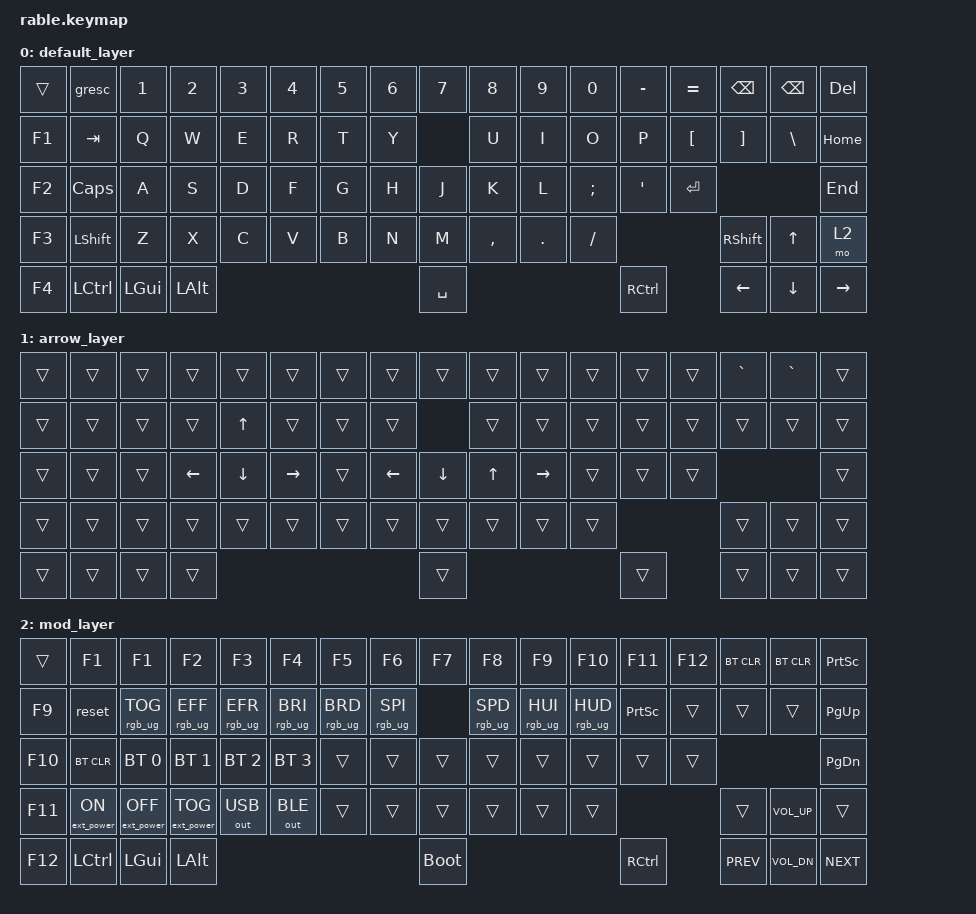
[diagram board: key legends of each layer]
/*
 * Copyright (c) 2021 Nick Winans
 *
 * SPDX-License-Identifier: MIT
 */

#include <behaviors.dtsi>
#include <dt-bindings/zmk/keys.h>
#include <dt-bindings/zmk/rgb.h>
#include <dt-bindings/zmk/bt.h>
#include <dt-bindings/zmk/outputs.h>
#include <dt-bindings/zmk/ext_power.h>

/ {
  keymap {
    compatible = "zmk,keymap";
    
    default_layer {
        // ----------------------------------------------------------------------------------------------------------
        // | F1  | ESC |  1  |  2  |  3  |  4  |  5  |  6  |  7  |  8  |  9  |  0  |  -  |  =  |   BKSP   | DEL  |
        // | F2  | TAB  |  Q  |  W  |  E  |  R  |  T  |  Y  |  U  |  I  |  O  |  P  |  [  |  ]  |   "|"   | PG UP   |
        // | F3  | CAPS  |  A  |  S  | D  |  F  |  G  |  H  |  J  |  K  |  L  |  ;  |  '  |     ENTER     | PG DOWN |
        // | F4  |  SHIFT  |  Z  |  X  |  C  |  V  |  B  |  N  |  M  |  ,  |  .  |  /  |   SHIFT  |  UP   | END     |
        // | F5  |  CTL  |  ALT  |  WIN  |                SPACE MO(1)          |  MO(1)  |  LEFT  |  DOWN | RIGHT   |
        // ----------------------------------------------------------------------------------------------------------
      bindings = <
        &trans  &gresc     &kp N1   &kp N2   &kp N3   &kp N4   &kp N5   &kp N6   &kp N7   &kp N8     &kp N9   &kp N0    &kp MINUS  &kp EQUAL  &kp BSPC  &kp BSPC  &kp DEL
        &kp F1  &kp TAB    &kp Q    &kp W    &kp E    &kp R    &kp T    &kp Y    &kp U    &kp I      &kp O    &kp P     &kp LBKT   &kp RBKT       &kp BSLH        &kp HOME
        &kp F2  &kp CLCK   &kp A    &kp S  &kp D    &kp F    &kp G    &kp H    &kp J    &kp K      &kp L    &kp SEMI  &kp SQT           &kp RET                   &kp END
        &kp F3  &kp LSHFT  &kp Z    &kp X    &kp C    &kp V    &kp B    &kp N    &kp M    &kp COMMA  &kp DOT  &kp FSLH                      &kp RSHFT   &kp UP    &mo 2
        &kp F4  &kp LCTRL  &kp LGUI &kp LALT                                  &kp SPACE                                &kp RCTRL          &kp LEFT      &kp DOWN  &kp RIGHT
      >;
    };

    arrow_layer {
        // ----------------------------------------------------------------------------------------------------------------
        // |        |    |     |     |     |     |     |     |     |     |     |     |     |     |     |   `~    |
        // |        |    |     |     |     |     |     |     |     |     |     |     |     |     |     |         |
        // |        |    |     |     |     |     |     |LEFT |DOWN |  UP |RIGHT|     |     |     |     |         |
        // |        |    |     |     |     |     |     |     |     |     |     |     |     |     |     |         |
        // |        |    |     |     |                                               |     |     |     |         |
        // ----------------------------------------------------------------------------------------------------------------
      bindings = <
        &trans    &trans    &trans   &trans    &trans   &trans    &trans   &trans    &trans   &trans    &trans   &trans    &trans   &trans    &kp GRAVE   &kp GRAVE        &trans    
        &trans   &trans   &trans   &trans    &kp UP   &trans    &trans   &trans    &trans   &trans    &trans   &trans    &trans   &trans         &trans       &trans 
        &trans   &trans  &trans   &kp LEFT   &kp DOWN   &kp RIGHT  &trans   &kp LEFT  &kp DOWN &kp UP   &kp RIGHT &trans    &trans            &trans               &trans  
        &trans  &trans   &trans   &trans    &trans   &trans    &trans   &trans    &trans   &trans    &trans   &trans                       &trans   &trans     &trans   
        &trans  &trans   &trans   &trans                                   &trans                                                   &trans    &trans   &trans    &trans
      >;
    };
    
    mod_layer {
        // ----------------------------------------------------------------------------------------------------------------
        // |        |    | BT 1|BT 2 |BT 3 |BT 4 |     |     |     |     |     |     |     |     |BT CLR |         |
        // |        |    | RST | BOOT|     |     |     |     |     |     |     |     |     |     |       |         |
        // |        |    | USB | BLE |     |     |     |     |     |     |     |     |     |     |RGB TOG|         |
        // |        |    |EP_ON|EP_OFF|EP_TOG|     |     |     |     |     |     |     |     |     |       |         |
        // |        |    |     |     |                                               |     |     |       |         |
        // ----------------------------------------------------------------------------------------------------------------
      bindings = <
        &trans   &kp F1   &kp F1 &kp F2  &kp F3   &kp F4  &kp F5   &kp F6   &kp F7    &kp F8   &kp F9    &kp F10   &kp F11    &kp F12   &bt BT_CLR   &bt BT_CLR     &kp PSCRN     
        &kp F9   &reset  &rgb_ug RGB_TOG &rgb_ug RGB_EFF &rgb_ug RGB_EFR &rgb_ug RGB_BRI &rgb_ug RGB_BRD &rgb_ug RGB_SPI &rgb_ug RGB_SPD &rgb_ug RGB_HUI &rgb_ug RGB_HUD &kp PSCRN &trans   &trans  &trans   &kp PG_UP 
        &kp F10  &bt BT_CLR  &bt BT_SEL 0  &bt BT_SEL 1  &bt BT_SEL 2  &bt BT_SEL 3  &trans  &trans  &trans  &trans    &trans   &trans  &trans  &trans  &kp PG_DN
        &kp F11  &ext_power EP_ON   &ext_power EP_OFF   &ext_power EP_TOG    &out OUT_USB   &out OUT_BLE    &trans   &trans    &trans   &trans  &trans   &trans &trans  &kp C_VOL_UP &trans   
        &kp F12  &kp LCTRL   &kp LGUI   &kp LALT                                   &bootloader                                              &kp RCTRL     &kp C_PREV   &kp C_VOL_DN  &kp C_NEXT
      >;
    };
    
  };
};
